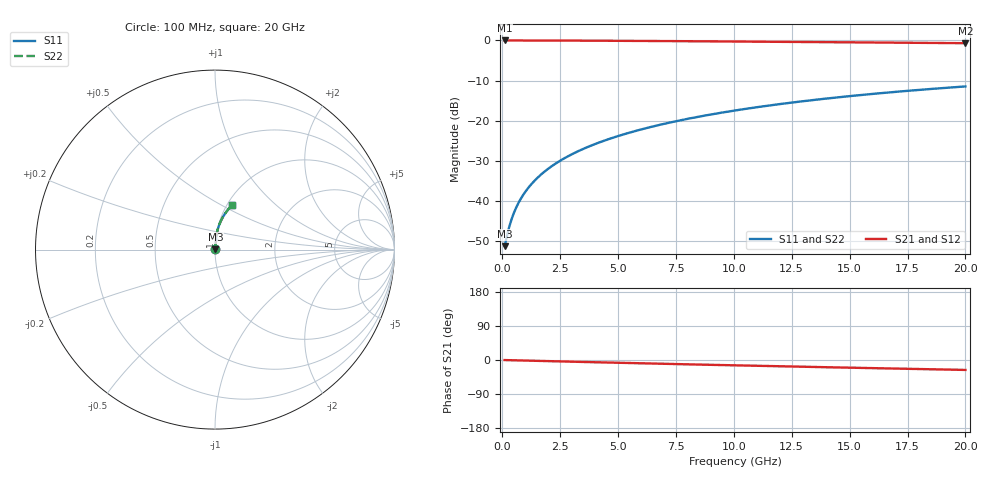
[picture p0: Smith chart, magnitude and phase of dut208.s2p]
! Touchstone file exported from HFSS 2024.1.0
!  File:  C:/UserFiles/LocalFiles/RDL_TSV_Batchsim/temp_RDL_bottom_208_1778699851.aedt
!  Generated:  03:20:18 AM May 14, 2026
!  Design:  RDL_bottom
!  Project:  temp_RDL_bottom_208_1778699851
!  Setup:  Setup1
!  Solution:  Sweep
! Variables:
!  dtsv = 10.80580581um
!  hbump = 3um
!  htsv = 93.83um
!  ldown = 353.74um
!  lrdl = 100um
!  p = 40
!  p1 = 43.21um
!  rhole = 1um
!  t = 450um
!  tdown = 3.04um
!  trdl = 3.915915916um
!  wdown = 19.17um
!  wrdl = 20um
# GHz S MA R 50.000000
! Terminal data exported
! Port[1] = RDL1_T1
! Port[2] = RDL1_T2
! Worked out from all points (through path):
!   200 points, 100 MHz to 20 GHz, reference 50 ohm
!   highest |S21| = -0.02 dB at 100 MHz (marker M1); lowest = -0.7 dB at 20 GHz (marker M2)
!   group delay of S21, straight-line fit = 3.62 ps
!   lowest |S11| = -51.2 dB at 100 MHz (marker M3), VSWR 1.01, Z = 50.2 + j0.139 ohm
!   |S11| at or under -10 dB: start of sweep to end of sweep
!   |S22| runs from -51.2 to -11.5 dB; largest |S21 - S12| = 3.4e-15
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0.1  0.002745 30.2  0.9976 -0.2  0.9976 -0.2  0.002745 30.2
! Gamma 0 0 0 0
! Port Impedance 50 0 50 0
0.2  0.003668 48.2  0.9975 -0.3  0.9975 -0.3  0.003668 48.2
0.3  0.004777 57.9  0.9974 -0.5  0.9974 -0.5  0.004777 57.9
0.4  0.005939 63.7  0.9973 -0.6  0.9973 -0.6  0.005939 63.7
0.5  0.007117 67.6  0.9972 -0.8  0.9972 -0.8  0.007117 67.6
0.6  0.008303 70.5  0.9971 -0.9  0.9971 -0.9  0.008303 70.5
0.8  0.01069 74.4  0.9969 -1.2  0.9969 -1.2  0.01069 74.4
1.1  0.01433 77.9  0.9966 -1.7  0.9966 -1.7  0.01433 77.9
1.3  0.01678 79.5  0.9964 -2.0  0.9964 -2.0  0.01678 79.5
1.6  0.02049 81.1  0.996 -2.4  0.996 -2.4  0.02049 81.1
2.1  0.02674 82.8  0.9952 -3.1  0.9952 -3.1  0.02674 82.8
2.7  0.03435 83.9  0.9941 -4.0  0.9941 -4.0  0.03435 83.9
3.5  0.04465 84.6  0.9922 -5.2  0.9922 -5.2  0.04465 84.6
4.2  0.05381 84.8  0.9903 -6.2  0.9903 -6.2  0.05381 84.8
5  0.06444 84.7  0.9878 -7.3  0.9878 -7.3  0.06444 84.7
5.9  0.07658 84.3  0.9847 -8.6  0.9847 -8.6  0.07658 84.3
6.8  0.08888 83.8  0.9813 -9.8  0.9813 -9.8  0.08888 83.8
8.4  0.111 82.5  0.9749 -12.0  0.9749 -12.0  0.111 82.5
10.1  0.1348 80.7  0.9677 -14.2  0.9677 -14.2  0.1348 80.7
13.4  0.1806 76.9  0.9531 -18.3  0.9531 -18.3  0.1806 76.9
16.7  0.225 72.8  0.938 -22.3  0.938 -22.3  0.225 72.8
20  0.2672 68.7  0.9224 -26.2  0.9224 -26.2  0.2672 68.7
